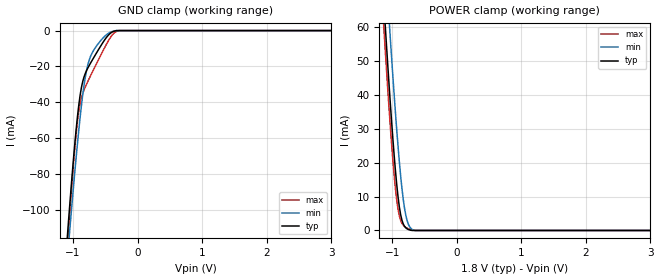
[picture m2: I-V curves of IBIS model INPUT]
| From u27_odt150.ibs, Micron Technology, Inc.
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|   MODEL INPUT
[Model]   INPUT
Model_type   Input
Vinl = 650.000mV
Vinh = 1.150V
|   typ   min   max
C_comp   1.230pF   0.800pF   1.610pF
[Model Spec]
| Input threshold voltage corners
Vinh   0.650V   0.600V   0.700V
Vinl   1.150V   1.100V   1.200V
[Voltage Range]   1.800V   1.700V   1.900V
[Temperature Range]   25.0   85.0   0.0
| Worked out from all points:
|   GND clamp passes 1 mA (typ) near -0.40 V on its own axis
|   POWER clamp passes 1 mA (typ) near -0.80 V on its own axis
[GND Clamp]
|   Voltage   I(typ)   I(min)   I(max)
-1.8V     -476.7mA   -452.3mA   -530.1mA
-1.09V    -115.5mA   -128mA     -123.2mA
-1.07V    -106mA     -119.3mA   -112.5mA
-1.05V    -96.65mA   -110.7mA   -102mA
-990mV    -70.11mA   -85.71mA   -72.99mA
-930mV    -47.38mA   -62.31mA   -50.14mA
-870mV    -31.66mA   -41.69mA   -37.4mA
-790mV    -22.22mA   -22mA      -29.76mA
-670mV    -14.47mA   -10.35mA   -20.9mA
-430mV    -1.748mA   -1.057mA   -4.286mA
-310mV    0A         NA         -242.4uA
3.6V      0A         0A         0A
[POWER Clamp]
|   Voltage   I(typ)   I(min)   I(max)
-1.8V     291.6mA    309.7mA    285.8mA
-1.13V    66.9mA     86.71mA    59.63mA
-1.11V    60.79mA    80.54mA    53.54mA
-1.05V    43.11mA    62.48mA    36.07mA
-1.03V    37.51mA    56.63mA    30.61mA
-970mV    22.03mA    39.86mA    16.09mA
-910mV    9.864mA    24.74mA    6.181mA
-870mV    4.669mA    16.13mA    2.958mA
-830mV    1.938mA    9.227mA    1.56mA
-770mV    483.2uA    2.909mA    698.3uA
-690mV    0A         284.1uA    161.2uA
3.6V      0A         0A         0A
